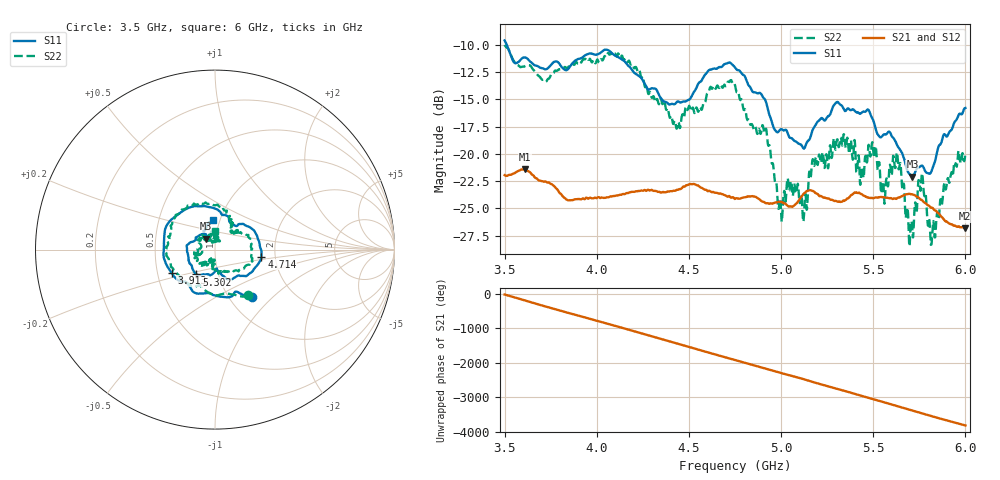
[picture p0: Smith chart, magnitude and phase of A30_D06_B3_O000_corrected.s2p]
! Created with skrf 1.9.0 (http://scikit-rf.org).
# Hz S RI R 50.0
!freq ReS11 ImS11 ReS21 ImS21 ReS12 ImS12 ReS22 ImS22
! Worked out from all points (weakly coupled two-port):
!   1601 points, 3.5 GHz to 6 GHz, reference 50 ohm
!   highest |S21| = -21.40 dB at 3.609 GHz (marker M1); lowest = -26.8 dB at 5.997 GHz (marker M2)
!   lowest |S11| = -22.1 dB at 5.713 GHz (marker M3), VSWR 1.17, Z = 45 + j5.55 ohm
!   |S11| at or under -10 dB: 3.512 GHz to end of sweep
!   |S22| runs from -28.5 to -10.0 dB; largest |S21 - S12| = 0.00093
!   S11 on the Smith chart (normalised r, x): 3.5 GHz: 1.27, -0.74; 3.913 GHz: 0.59, -0.17; 4.714 GHz: 1.69, -0.14; 5.302 GHz: 0.78, -0.22; 6 GHz: 0.93, +0.31
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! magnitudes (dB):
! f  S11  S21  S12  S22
! 3.5 GHz  -9.6  -21.9  -21.9  -10.0
! 3.609 GHz  -11.2  -21.4  -21.4  -12.0
! 3.913 GHz  -11.2  -24.2  -24.1  -11.6
! 3.917 GHz  -11.2  -24.1  -24.1  -11.6
! 4.127 GHz  -11.2  -23.7  -23.7  -11.2
! 4.334 GHz  -14.5  -23.5  -23.4  -15.3
! 4.442 GHz  -15.2  -23.3  -23.2  -17.1
! 4.714 GHz  -11.6  -23.9  -23.9  -13.4
! 4.75 GHz  -12.1  -24.1  -24.0  -13.7
! 4.911 GHz  -15.0  -24.5  -24.4  -18.0
! 4.995 GHz  -17.8  -24.4  -24.3  -24.1
! 5.044 GHz  -18.4  -24.8  -24.8  -23.4
! 5.13 GHz  -19.4  -23.6  -23.5  -23.9
! 5.167 GHz  -18.0  -23.4  -23.3  -21.0
! 5.302 GHz  -15.3  -24.3  -24.3  -18.8
! 5.584 GHz  -18.0  -24.0  -24.0  -22.1
! 5.638 GHz  -19.4  -24.0  -23.9  -21.4
! 5.713 GHz  -22.1  -23.7  -23.6  -27.1
! 5.758 GHz  -21.1  -24.2  -24.1  -23.2
! 5.823 GHz  -21.2  -25.0  -24.9  -26.6
! 5.997 GHz  -15.8  -26.8  -26.7  -20.4
! 6 GHz  -15.8  -26.8  -26.7  -19.9
